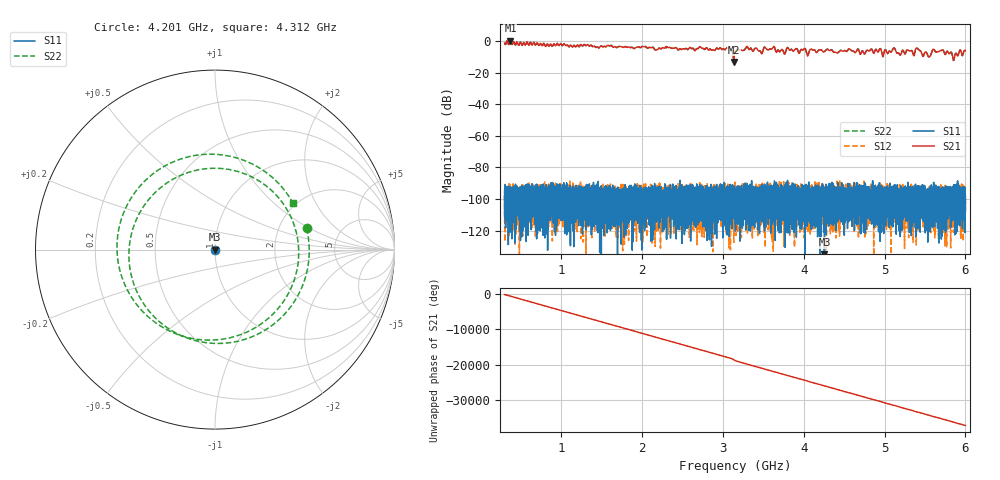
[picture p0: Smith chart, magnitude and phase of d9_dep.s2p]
!Agilent Technologies,N5230C,SG49000117,A.08.50.07
!Agilent N5230C: A.08.50.07
!Date: Sunday, March 17, 2024 06:48:59
!Correction: S11(Off)
!S21(Off)
!S12(Off)
!S22(Off)
!S2P File: Measurements: S11, S21, S12, S22:
# Hz S  RI  R 50
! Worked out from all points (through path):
!   20001 points, 300 MHz to 6 GHz, reference 50 ohm
!   highest |S21| = 0.22 dB at 371.5 MHz (marker M1); lowest = -13.4 dB at 3.133 GHz (marker M2)
!   lowest |S11| = -148.2 dB at 4.256 GHz (marker M3), VSWR 1.00, Z = 50 - j3.49e-06 ohm
!   |S11| at or under -10 dB: start of sweep to end of sweep
!   |S22| runs from -13.4 to 0.3 dB; largest |S21 - S12| = 1
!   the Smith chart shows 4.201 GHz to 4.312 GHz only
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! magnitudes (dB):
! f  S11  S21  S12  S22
! 300 MHz  -98.4  -1.4  -97.4  -1.4
! 371.5 MHz  -103.2  0.2  -99.3  0.3
! 1.25 GHz  -103.2  -2.6  -99.9  -2.6
! 2.2 GHz  -94.7  -5.0  -95.6  -5.0
! 3.064 GHz  -114.2  -4.6  -96.9  -4.6
! 3.133 GHz  -96.4  -13.4  -102.1  -13.4
! 3.15 GHz  -96.1  -6.1  -96.1  -6.1
! 3.299 GHz  -100.5  -3.5  -100.6  -3.4
! 3.467 GHz  -97.2  -6.7  -92.2  -6.7
! 3.616 GHz  -101.0  -4.5  -96.6  -4.4
! 3.998 GHz  -97.4  -5.4  -99.5  -5.3
! 4.051 GHz  -95.1  -9.4  -95.9  -9.3
! 4.1 GHz  -95.5  -5.5  -97.2  -5.4
! 4.256 GHz  -148.2  -6.8  -95.2  -6.7
! 5.05 GHz  -93.4  -7.0  -95.6  -6.9
! 5.352 GHz  -100.7  -8.0  -100.9  -8.0
! 5.409 GHz  -110.7  -4.9  -92.9  -4.9
! 5.549 GHz  -106.2  -10.2  -98.4  -10.3
! 5.605 GHz  -92.0  -5.3  -100.6  -5.4
! 5.704 GHz  -99.8  -6.0  -104.0  -6.0
! 5.863 GHz  -101.2  -10.5  -99.5  -10.5
! 6 GHz  -108.3  -6.2  -99.7  -6.3
